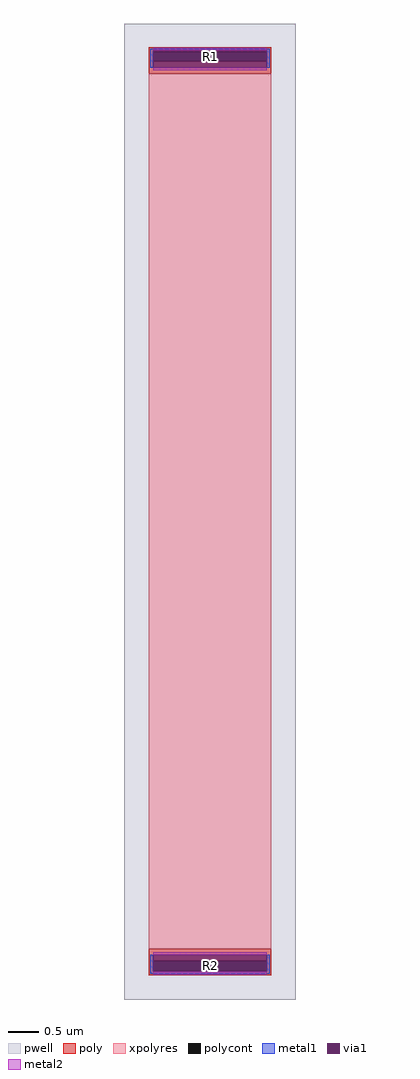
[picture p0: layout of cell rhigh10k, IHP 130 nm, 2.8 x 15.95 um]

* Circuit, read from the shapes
.subckt rhigh10k R1 R2
XR1 R1 R2 xpolyres w=2u l=14.3u
.ends

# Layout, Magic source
magic
tech ihp-sg13g2
magscale 1 2
<< pwell >>
rect 0 0 560 3190
<< poly >>
rect 80 3098 480 3112
rect 80 3066 94 3098
rect 466 3066 480 3098
rect 80 3026 480 3066
rect 80 126 480 166
rect 80 94 94 126
rect 466 94 480 126
rect 80 80 480 94
<< polycont >>
rect 94 3066 466 3098
rect 94 94 466 126
<< xpolyres >>
rect 80 166 480 3026
<< metal1 >>
rect 84 3102 476 3108
rect 84 3046 94 3102
rect 466 3046 476 3102
rect 84 3045 476 3046
rect 84 146 476 147
rect 84 90 94 146
rect 466 90 476 146
rect 84 84 476 90
<< via1 >>
rect 94 3098 466 3102
rect 94 3066 466 3098
rect 94 3046 466 3066
rect 94 126 466 146
rect 94 94 466 126
rect 94 90 466 94
<< metal2 >>
rect 94 3102 466 3111
rect 94 3037 466 3046
rect 94 146 466 155
rect 94 81 466 90
<< labels >>
rlabel polycont 280 3082 280 3082 0 R1
port 2 nsew
rlabel polycont 280 110 280 110 0 R2
port 3 nsew
<< end >>
